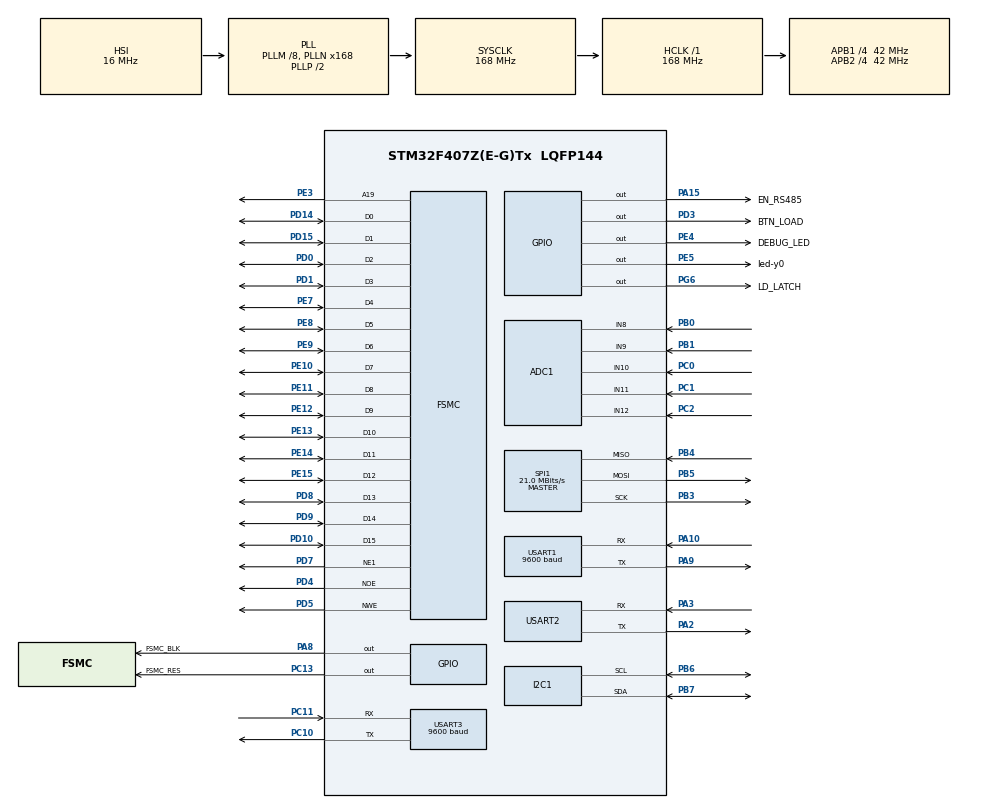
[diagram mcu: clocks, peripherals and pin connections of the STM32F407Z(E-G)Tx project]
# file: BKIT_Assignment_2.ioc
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ADC1.Channel-0\#ChannelRegularConversion=ADC_CHANNEL_8
ADC1.Channel-1\#ChannelRegularConversion=ADC_CHANNEL_9
ADC1.Channel-2\#ChannelRegularConversion=ADC_CHANNEL_10
ADC1.Channel-3\#ChannelRegularConversion=ADC_CHANNEL_11
ADC1.Channel-4\#ChannelRegularConversion=ADC_CHANNEL_12
ADC1.NbrOfConversion=5
ADC1.NbrOfConversionFlag=1
ADC1.Rank-0\#ChannelRegularConversion=1
ADC1.Rank-1\#ChannelRegularConversion=2
ADC1.Rank-2\#ChannelRegularConversion=3
ADC1.Rank-3\#ChannelRegularConversion=4
ADC1.Rank-4\#ChannelRegularConversion=5
ADC1.SamplingTime-0\#ChannelRegularConversion=ADC_SAMPLETIME_15CYCLES
ADC1.SamplingTime-1\#ChannelRegularConversion=ADC_SAMPLETIME_15CYCLES
ADC1.SamplingTime-2\#ChannelRegularConversion=ADC_SAMPLETIME_15CYCLES
ADC1.SamplingTime-3\#ChannelRegularConversion=ADC_SAMPLETIME_15CYCLES
ADC1.SamplingTime-4\#ChannelRegularConversion=ADC_SAMPLETIME_15CYCLES
ADC1.ScanConvMode=ENABLE
ADC1.master=1
Dma.ADC1.0.Direction=DMA_PERIPH_TO_MEMORY
Dma.ADC1.0.FIFOMode=DMA_FIFOMODE_DISABLE
Dma.ADC1.0.Instance=DMA2_Stream0
Dma.ADC1.0.MemDataAlignment=DMA_MDATAALIGN_HALFWORD
Dma.ADC1.0.MemInc=DMA_MINC_ENABLE
Dma.ADC1.0.Mode=DMA_CIRCULAR
Dma.ADC1.0.PeriphDataAlignment=DMA_PDATAALIGN_HALFWORD
Dma.ADC1.0.PeriphInc=DMA_PINC_DISABLE
Dma.ADC1.0.Priority=DMA_PRIORITY_LOW
Dma.Request0=ADC1
FSMC.AddressSetupTime1=0xf
FSMC.BusTurnAroundDuration1=0
FSMC.DataSetupTime1=60
FSMC.ExtendedAddressSetupTime1=8
FSMC.ExtendedBusTurnAroundDuration1=0
FSMC.ExtendedDataSetupTime1=9
FSMC.ExtendedMode1=FSMC_EXTENDED_MODE_ENABLE
Mcu.Family=STM32F4
Mcu.Name=STM32F407Z(E-G)Tx
Mcu.Package=LQFP144
NVIC.DMA2_Stream0_IRQn=true\:0\:0\:false\:false\:true\:false\:true\:true
NVIC.PriorityGroup=NVIC_PRIORITYGROUP_4
NVIC.TIM3_IRQn=true\:0\:0\:false\:false\:true\:true\:true\:true
NVIC.USART3_IRQn=true\:0\:0\:false\:false\:true\:true\:true\:true
PA10.Mode=Asynchronous
PA10.Signal=USART1_RX
PA13.Mode=Serial_Wire
PA13.Signal=SYS_JTMS-SWDIO
PA14.Mode=Serial_Wire
PA14.Signal=SYS_JTCK-SWCLK
PA15.GPIO_Label=EN_RS485
PA15.Signal=GPIO_Output
PA2.Mode=Asynchronous
PA2.Signal=USART2_TX
PA3.Mode=Asynchronous
PA3.Signal=USART2_RX
PA8.GPIO_Label=FSMC_BLK
PA8.Signal=GPIO_Output
PA9.Mode=Asynchronous
PA9.Signal=USART1_TX
PB0.Signal=ADCx_IN8
PB1.Signal=ADCx_IN9
PB3.Mode=Full_Duplex_Master
PB3.Signal=SPI1_SCK
PB4.Mode=Full_Duplex_Master
PB4.Signal=SPI1_MISO
PB5.Mode=Full_Duplex_Master
PB5.Signal=SPI1_MOSI
PB6.Mode=I2C
PB6.Signal=I2C1_SCL
PB7.Mode=I2C
PB7.Signal=I2C1_SDA
PC0.Signal=ADCx_IN10
PC1.Signal=ADCx_IN11
PC10.Mode=Asynchronous
PC10.Signal=USART3_TX
PC11.Mode=Asynchronous
PC11.Signal=USART3_RX
PC13-ANTI_TAMP.GPIO_Label=FSMC_RES
PC13-ANTI_TAMP.Signal=GPIO_Output
PC2.Signal=ADCx_IN12
PD0.Signal=FSMC_D2_DA2
PD1.Signal=FSMC_D3_DA3
PD10.Signal=FSMC_D15_DA15
PD14.Signal=FSMC_D0_DA0
PD15.Signal=FSMC_D1_DA1
PD3.GPIO_Label=BTN_LOAD
PD3.Signal=GPIO_Output
PD4.Signal=FSMC_NOE
PD5.Signal=FSMC_NWE
PD7.Mode=NorPsramChipSelect1_1
PD7.Signal=FSMC_NE1
PD8.Signal=FSMC_D13_DA13
PD9.Signal=FSMC_D14_DA14
PE10.Signal=FSMC_D7_DA7
PE11.Signal=FSMC_D8_DA8
PE12.Signal=FSMC_D9_DA9
PE13.Signal=FSMC_D10_DA10
PE14.Signal=FSMC_D11_DA11
PE15.Signal=FSMC_D12_DA12
PE3.Signal=FSMC_A19
PE4.GPIO_Label=DEBUG_LED
PE4.Signal=GPIO_Output
PE5.GPIO_Label=led-y0
PE5.Signal=GPIO_Output
PE7.Signal=FSMC_D4_DA4
PE8.Signal=FSMC_D5_DA5
PE9.Signal=FSMC_D6_DA6
PG6.GPIO_Label=LD_LATCH
PG6.Signal=GPIO_Output
PH0-OSC_IN.Mode=HSE-External-Oscillator
PH0-OSC_IN.Signal=RCC_OSC_IN
PH1-OSC_OUT.Mode=HSE-External-Oscillator
PH1-OSC_OUT.Signal=RCC_OSC_OUT
ProjectManager.HeapSize=0x200
ProjectManager.StackSize=0x400
ProjectManager.TargetToolchain=STM32CubeIDE
RCC.48MHZClocksFreq_Value=84000000
RCC.AHBFreq_Value=168000000
RCC.APB1CLKDivider=RCC_HCLK_DIV4
RCC.APB1Freq_Value=42000000
RCC.APB1TimFreq_Value=84000000
RCC.APB2CLKDivider=RCC_HCLK_DIV4
RCC.APB2Freq_Value=42000000
RCC.APB2TimFreq_Value=84000000
RCC.CortexFreq_Value=168000000
RCC.HCLKFreq_Value=168000000
RCC.HSE_VALUE=25000000
RCC.HSI_VALUE=16000000
RCC.LSE_VALUE=32768
RCC.PLLM=8
RCC.PLLN=168
RCC.SYSCLKFreq_VALUE=168000000
RCC.SYSCLKSource=RCC_SYSCLKSOURCE_PLLCLK
RCC.VCOOutputFreq_Value=336000000
SH.ADCx_IN10.0=ADC1_IN10,IN10
SH.ADCx_IN11.0=ADC1_IN11,IN11
SH.ADCx_IN12.0=ADC1_IN12,IN12
SH.ADCx_IN8.0=ADC1_IN8,IN8
SH.ADCx_IN9.0=ADC1_IN9,IN9
SH.FSMC_A19.0=FSMC_A19,A19_1
SH.FSMC_D0_DA0.0=FSMC_D0,16b-d1
SH.FSMC_D10_DA10.0=FSMC_D10,16b-d1
SH.FSMC_D11_DA11.0=FSMC_D11,16b-d1
SH.FSMC_D12_DA12.0=FSMC_D12,16b-d1
SH.FSMC_D13_DA13.0=FSMC_D13,16b-d1
SH.FSMC_D14_DA14.0=FSMC_D14,16b-d1
SH.FSMC_D15_DA15.0=FSMC_D15,16b-d1
SH.FSMC_D1_DA1.0=FSMC_D1,16b-d1
SH.FSMC_D2_DA2.0=FSMC_D2,16b-d1
SH.FSMC_D3_DA3.0=FSMC_D3,16b-d1
SH.FSMC_D4_DA4.0=FSMC_D4,16b-d1
SH.FSMC_D5_DA5.0=FSMC_D5,16b-d1
SH.FSMC_D6_DA6.0=FSMC_D6,16b-d1
SH.FSMC_D7_DA7.0=FSMC_D7,16b-d1
SH.FSMC_D8_DA8.0=FSMC_D8,16b-d1
SH.FSMC_D9_DA9.0=FSMC_D9,16b-d1
SH.FSMC_NOE.0=FSMC_NOE,Lcd1
SH.FSMC_NWE.0=FSMC_NWE,Lcd1
SPI1.CalculateBaudRate=21.0 MBits/s
SPI1.Direction=SPI_DIRECTION_2LINES
SPI1.Mode=SPI_MODE_MASTER
SPI1.VirtualType=VM_MASTER
USART1.BaudRate=9600
USART1.VirtualMode=VM_ASYNC
USART2.VirtualMode=VM_ASYNC
USART3.BaudRate=9600
USART3.VirtualMode=VM_ASYNC
VP_TIM3_VS_ClockSourceINT.Mode=Internal
board=custom

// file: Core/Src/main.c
/* USER CODE BEGIN Header */
/**
  ******************************************************************************
  * @file           : main.c
  * @brief          : Main program body
  ******************************************************************************
  * @attention
  *
  * Copyright (c) 2026 STMicroelectronics.
  * All rights reserved.
  *
  * This software is licensed under terms that can be found in the LICENSE file
  * in the root directory of this software component.
  * If no LICENSE file comes with this software, it is provided AS-IS.
  *
  ******************************************************************************
  */
/* USER CODE END Header */
#include "main.h"
#include "adc.h"
#include "dma.h"
#include "i2c.h"
#include "spi.h"
#include "tim.h"
#include "usart.h"
#include "gpio.h"
#include "fsmc.h"

/* USER CODE BEGIN Includes */
#include "button.h"
#include "lcd.h"
#include "led_7seg.h"
#include "software_timer.h"
#include "hwi.h"
#include "mpl.h"
#include "app.h"
/* USER CODE END Includes */

/* USER CODE BEGIN PV */
void lcd_display();
/* USER CODE END PV */

void SystemClock_Config(void);

/* USER CODE BEGIN 0 */
void init_system(void);
/* USER CODE END 0 */

int main(void)
{

  /* MCU Configuration--------------------------------------------------------*/

  /* Reset of all peripherals, Initializes the Flash interface and the Systick. */
  HAL_Init();

  /* Configure the system clock */
  SystemClock_Config();

  /* Initialize all configured peripherals */
  MX_GPIO_Init();
  MX_DMA_Init();
  MX_USART3_UART_Init();
  MX_USART2_UART_Init();
  MX_USART1_UART_Init();
  MX_ADC1_Init();
  MX_FSMC_Init();
  MX_SPI1_Init();
  MX_TIM3_Init();
  MX_I2C1_Init();
  /* USER CODE BEGIN 2 */
  init_system();
  /* USER CODE END 2 */

  /* Infinite loop */
  while (1)
  {
	  button_scan();
	  convert_mode();

	  #ifdef MASTER_MODE
	  if(timer_isExpired(1)){
		lcd_display();
		update_sensor_data();
		timer_set(1, 1000);
	  }
	  #else
	  	  lcd_display();
		  mpl_fsm();
	  #endif
  }
}

void SystemClock_Config(void)
{
  RCC_OscInitTypeDef RCC_OscInitStruct = {0};
  RCC_ClkInitTypeDef RCC_ClkInitStruct = {0};

  /** Configure the main internal regulator output voltage
  */
  __HAL_RCC_PWR_CLK_ENABLE();
  __HAL_PWR_VOLTAGESCALING_CONFIG(PWR_REGULATOR_VOLTAGE_SCALE1);

  /** Initializes the RCC Oscillators according to the specified parameters
  * in the RCC_OscInitTypeDef structure.
  */
  RCC_OscInitStruct.OscillatorType = RCC_OSCILLATORTYPE_HSI;
  RCC_OscInitStruct.HSIState = RCC_HSI_ON;
  RCC_OscInitStruct.HSICalibrationValue = RCC_HSICALIBRATION_DEFAULT;
  RCC_OscInitStruct.PLL.PLLState = RCC_PLL_ON;
  RCC_OscInitStruct.PLL.PLLSource = RCC_PLLSOURCE_HSI;
  RCC_OscInitStruct.PLL.PLLM = 8;
  RCC_OscInitStruct.PLL.PLLN = 168;
  RCC_OscInitStruct.PLL.PLLP = RCC_PLLP_DIV2;
  RCC_OscInitStruct.PLL.PLLQ = 4;
  if (HAL_RCC_OscConfig(&RCC_OscInitStruct) != HAL_OK)
  {
    Error_Handler();
  }

  /** Initializes the CPU, AHB and APB buses clocks
  */
  RCC_ClkInitStruct.ClockType = RCC_CLOCKTYPE_HCLK|RCC_CLOCKTYPE_SYSCLK
                              |RCC_CLOCKTYPE_PCLK1|RCC_CLOCKTYPE_PCLK2;
  RCC_ClkInitStruct.SYSCLKSource = RCC_SYSCLKSOURCE_PLLCLK;
  RCC_ClkInitStruct.AHBCLKDivider = RCC_SYSCLK_DIV1;
  RCC_ClkInitStruct.APB1CLKDivider = RCC_HCLK_DIV4;
  RCC_ClkInitStruct.APB2CLKDivider = RCC_HCLK_DIV4;

  if (HAL_RCC_ClockConfig(&RCC_ClkInitStruct, FLASH_LATENCY_5) != HAL_OK)
  {
    Error_Handler();
  }
}

/* USER CODE BEGIN 4 */
void init_system(){
	timer_init();
	lcd_init();
	lcd_clear(BLACK);
	hw_init();
	HAL_ADC_Start_DMA(&hadc1, (uint32_t*)adc_buffer, 5);
	timer_set(1, 1000);
}

void lcd_display(){
#ifdef MASTER_MODE
	char msg_buf[20];

	lcd_show_string(10, 5, "-----------MASTER-----------", YELLOW, BLACK, 16, 0);

	sprintf(msg_buf, "TEMP:  %.2f C  ", temp);
	lcd_show_string(10, 40, msg_buf, WHITE, BLACK, 16, 0);
	sprintf(msg_buf, "HUMID: %.2f %%  ", humid);
	lcd_show_string(10, 60, msg_buf, WHITE, BLACK, 16, 0);
#else
	lcd_show_string(10, 5, "-----------SLAVE-----------", YELLOW, BLACK, 16, 0);
#endif
}

void HAL_TIM_PeriodElapsedCallback(TIM_HandleTypeDef *htim) {

	if (htim->Instance == TIM3) {
		timer_run();
	}
}

void HAL_UART_RxCpltCallback(UART_HandleTypeDef *huart){
	UART_Callback(huart);
}

void HAL_I2C_SlaveRxCpltCallback(I2C_HandleTypeDef *hi2c){
	I2C_Callback(hi2c);
}
/* USER CODE END 4 */

void Error_Handler(void)
{
  __disable_irq();
  while (1)
  {
  }
}
